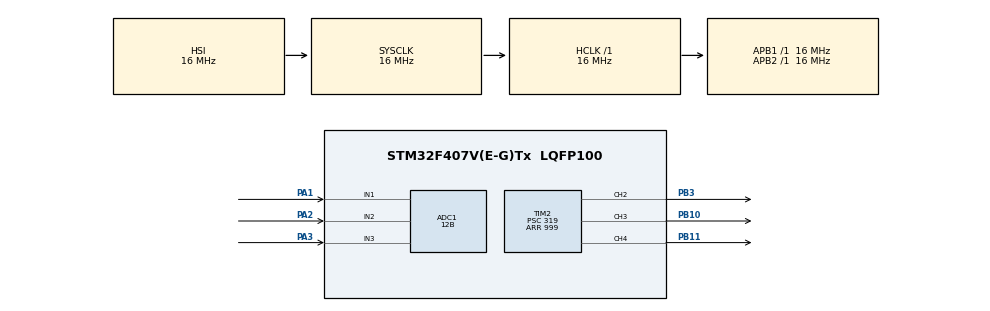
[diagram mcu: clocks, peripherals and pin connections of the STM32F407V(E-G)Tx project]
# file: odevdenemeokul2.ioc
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ADC1.AutoInjectedConv=DISABLE
ADC1.Channel-0\#ChannelRegularConversion=ADC_CHANNEL_1
ADC1.Channel-1\#ChannelRegularConversion=ADC_CHANNEL_2
ADC1.Channel-2\#ChannelRegularConversion=ADC_CHANNEL_3
ADC1.ClockPrescaler=ADC_CLOCK_SYNC_PCLK_DIV2
ADC1.ContinuousConvMode=DISABLE
ADC1.DMAContinuousRequests=DISABLE
ADC1.DataAlign=ADC_DATAALIGN_RIGHT
ADC1.DiscontinuousConvMode=DISABLE
ADC1.EOCSelection=ADC_EOC_SINGLE_CONV
ADC1.EnableAnalogWatchDog=false
ADC1.ExternalTrigConv=ADC_SOFTWARE_START
ADC1.ExternalTrigConvEdge=ADC_EXTERNALTRIGCONVEDGE_NONE
ADC1.InjNumberOfConversion=0
ADC1.InjectedDiscontinuousConvMode=DISABLE
ADC1.NbrOfConversion=3
ADC1.NbrOfConversionFlag=1
ADC1.Rank-0\#ChannelRegularConversion=1
ADC1.Rank-1\#ChannelRegularConversion=2
ADC1.Rank-2\#ChannelRegularConversion=3
ADC1.Resolution=ADC_RESOLUTION_12B
ADC1.SamplingTime-0\#ChannelRegularConversion=ADC_SAMPLETIME_480CYCLES
ADC1.SamplingTime-1\#ChannelRegularConversion=ADC_SAMPLETIME_480CYCLES
ADC1.SamplingTime-2\#ChannelRegularConversion=ADC_SAMPLETIME_480CYCLES
ADC1.ScanConvMode=ENABLE
ADC1.master=1
Mcu.Family=STM32F4
Mcu.Name=STM32F407V(E-G)Tx
Mcu.Package=LQFP100
NVIC.ADC_IRQn=true\:0\:0\:false\:false\:true
NVIC.PriorityGroup=NVIC_PRIORITYGROUP_4
NVIC.TIM2_IRQn=true\:0\:0\:false\:false\:true
PA1.Signal=ADCx_IN1
PA2.Signal=ADCx_IN2
PA3.Signal=ADCx_IN3
PB10.Signal=S_TIM2_CH3
PB11.Signal=S_TIM2_CH4
PB3.Signal=S_TIM2_CH2
ProjectManager.HeapSize=0x200
ProjectManager.StackSize=0x400
ProjectManager.TargetToolchain=MDK-ARM V4
RCC.AHBFreq_Value=16000000
RCC.APB1Freq_Value=16000000
RCC.APB2Freq_Value=16000000
RCC.ClockTypeHCLK=RCC_CLOCKTYPE_HCLK
RCC.ClockTypePCLK1=RCC_CLOCKTYPE_PCLK1
RCC.ClockTypePCLK2=RCC_CLOCKTYPE_PCLK2
RCC.ClockTypeSysClk=RCC_CLOCKTYPE_SYSCLK
RCC.CortexFreq_Value=16000000
RCC.EnableExtClockForI2S=false
RCC.EnableHSE=false
RCC.EnableHSERTCDevisor=false
RCC.EnableLSE=false
RCC.EnableLSERTC=false
RCC.ExtClockEnable=false
RCC.HSEState=RCC_HSE_OFF
RCC.HSE_VALUE=25000000
RCC.HSIState=RCC_HSI_ON
RCC.HSI_VALUE=16000000
RCC.I2SEnable=false
RCC.IWDGEnable=false
RCC.LSE_VALUE=32768
RCC.LSIState=RCC_LSI_OFF
RCC.MCO1OutPutEnable=false
RCC.MCO2OutPutEnable=false
RCC.OscillatorTypeHSI=RCC_OSCILLATORTYPE_HSI
RCC.PLLSource=RCC_PLLSOURCE_HSI
RCC.PLLSourceVirtual=RCC_PLLSOURCE_HSI
RCC.PLLState=RCC_PLL_OFF
RCC.RNGEnable=false
RCC.RTCEnable=false
RCC.SDIOEnable=false
RCC.SYSCLKFreq_VALUE=16000000
RCC.USBFSEnable=false
RCC.USBHSEnable=false
RCC.VCOOutputFreq_Value=192000000
SH.ADCx_IN1.0=ADC1_IN1,IN1
SH.ADCx_IN2.0=ADC1_IN2,IN2
SH.ADCx_IN3.0=ADC1_IN3,IN3
SH.S_TIM2_CH2.0=TIM2_CH2,PWM Generation2 CH2
SH.S_TIM2_CH3.0=TIM2_CH3,PWM Generation3 CH3
SH.S_TIM2_CH4.0=TIM2_CH4,PWM Generation4 CH4
TIM2.Channel-PWM\ Generation2\ CH2=TIM_CHANNEL_2
TIM2.Channel-PWM\ Generation3\ CH3=TIM_CHANNEL_3
TIM2.Channel-PWM\ Generation4\ CH4=TIM_CHANNEL_4
TIM2.Period=999
TIM2.Prescaler=319
board=odevdenemeokul2

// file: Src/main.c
/**
  ******************************************************************************
  * File Name          : main.c
  * Description        : Main program body
  ******************************************************************************
  *
  * COPYRIGHT(c) 2018 STMicroelectronics
  *
  * Redistribution and use in source and binary forms, with or without modification,
  * are permitted provided that the following conditions are met:
  *   1. Redistributions of source code must retain the above copyright notice,
  *      this list of conditions and the following disclaimer.
  *   2. Redistributions in binary form must reproduce the above copyright notice,
  *      this list of conditions and the following disclaimer in the documentation
  *      and/or other materials provided with the distribution.
  *   3. Neither the name of STMicroelectronics nor the names of its contributors
  *      may be used to endorse or promote products derived from this software
  *      without specific prior written permission.
  *
  * THIS SOFTWARE IS PROVIDED BY THE COPYRIGHT HOLDERS AND CONTRIBUTORS "AS IS"
  * AND ANY EXPRESS OR IMPLIED WARRANTIES, INCLUDING, BUT NOT LIMITED TO, THE
  * IMPLIED WARRANTIES OF MERCHANTABILITY AND FITNESS FOR A PARTICULAR PURPOSE ARE
  * DISCLAIMED. IN NO EVENT SHALL THE COPYRIGHT HOLDER OR CONTRIBUTORS BE LIABLE
  * FOR ANY DIRECT, INDIRECT, INCIDENTAL, SPECIAL, EXEMPLARY, OR CONSEQUENTIAL
  * DAMAGES (INCLUDING, BUT NOT LIMITED TO, PROCUREMENT OF SUBSTITUTE GOODS OR
  * SERVICES; LOSS OF USE, DATA, OR PROFITS; OR BUSINESS INTERRUPTION) HOWEVER
  * CAUSED AND ON ANY THEORY OF LIABILITY, WHETHER IN CONTRACT, STRICT LIABILITY,
  * OR TORT (INCLUDING NEGLIGENCE OR OTHERWISE) ARISING IN ANY WAY OUT OF THE USE
  * OF THIS SOFTWARE, EVEN IF ADVISED OF THE POSSIBILITY OF SUCH DAMAGE.
  *
  ******************************************************************************
  */
#include "main.h"
#include "stm32f4xx_hal.h"

ADC_HandleTypeDef hadc1;

TIM_HandleTypeDef htim2;

/* USER CODE BEGIN PV */
/* Private variables ---------------------------------------------------------*/

/* USER CODE END PV */

void SystemClock_Config(void);
void Error_Handler(void);
static void MX_GPIO_Init(void);
static void MX_ADC1_Init(void);
static void MX_TIM2_Init(void);

void HAL_TIM_MspPostInit(TIM_HandleTypeDef *htim);

/* USER CODE BEGIN PFP */
/* Private function prototypes -----------------------------------------------*/

/* USER CODE END PFP */

/* USER CODE BEGIN 0 */

int adc_value[3];
int sayac=0;
int parlaklik=0;

/**
* @brief This function handles ADC1, ADC2 and ADC3 global interrupts.
*/
void ADC_IRQHandler(void)
{
  /* USER CODE BEGIN ADC_IRQn 0 */
	adc_value[sayac]=HAL_ADC_GetValue(&hadc1);
	sayac++;

	if(sayac>2){
		sayac=0;
		HAL_ADC_Start_IT(&hadc1);
	}

  /* USER CODE END ADC_IRQn 0 */
  HAL_ADC_IRQHandler(&hadc1);
  /* USER CODE BEGIN ADC_IRQn 1 */

  /* USER CODE END ADC_IRQn 1 */
}
void TIM2_IRQHandler(void)
{
  /* USER CODE BEGIN TIM2_IRQn 0 */

  /* USER CODE END TIM2_IRQn 0 */
  HAL_TIM_IRQHandler(&htim2);
  /* USER CODE BEGIN TIM2_IRQn 1 */

  /* USER CODE END TIM2_IRQn 1 */
}

/* USER CODE END 0 */

int main(void)
{

  /* MCU Configuration----------------------------------------------------------*/

  /* Reset of all peripherals, Initializes the Flash interface and the Systick. */
  HAL_Init();

  /* Configure the system clock */
  SystemClock_Config();

  /* Initialize all configured peripherals */
  MX_GPIO_Init();
  MX_ADC1_Init();
  MX_TIM2_Init();

  /* USER CODE BEGIN 2 */
	HAL_TIM_PWM_Start_IT(&htim2, TIM_CHANNEL_2);
	HAL_TIM_PWM_Start_IT(&htim2, TIM_CHANNEL_3);
	HAL_TIM_PWM_Start_IT(&htim2, TIM_CHANNEL_4);
	HAL_ADC_Start_IT(&hadc1);
  /* USER CODE END 2 */

  /* Infinite loop */
  /* USER CODE BEGIN WHILE */
  while (1)
  {
		HAL_Delay(10);
		TIM2->CCR2 = adc_value[0]/20;
		TIM2->CCR3 = adc_value[1]/20;
		TIM2->CCR4 = adc_value[2]/20;
  }

  /* USER CODE END 3 */

}

/** System Clock Configuration
*/
void SystemClock_Config(void)
{

  RCC_OscInitTypeDef RCC_OscInitStruct;
  RCC_ClkInitTypeDef RCC_ClkInitStruct;

    /**Configure the main internal regulator output voltage
    */
  __HAL_RCC_PWR_CLK_ENABLE();

  __HAL_PWR_VOLTAGESCALING_CONFIG(PWR_REGULATOR_VOLTAGE_SCALE1);

    /**Initializes the CPU, AHB and APB busses clocks
    */
  RCC_OscInitStruct.OscillatorType = RCC_OSCILLATORTYPE_HSI;
  RCC_OscInitStruct.HSIState = RCC_HSI_ON;
  RCC_OscInitStruct.HSICalibrationValue = 16;
  RCC_OscInitStruct.PLL.PLLState = RCC_PLL_NONE;
  if (HAL_RCC_OscConfig(&RCC_OscInitStruct) != HAL_OK)
  {
    Error_Handler();
  }

    /**Initializes the CPU, AHB and APB busses clocks
    */
  RCC_ClkInitStruct.ClockType = RCC_CLOCKTYPE_HCLK|RCC_CLOCKTYPE_SYSCLK
                              |RCC_CLOCKTYPE_PCLK1|RCC_CLOCKTYPE_PCLK2;
  RCC_ClkInitStruct.SYSCLKSource = RCC_SYSCLKSOURCE_HSI;
  RCC_ClkInitStruct.AHBCLKDivider = RCC_SYSCLK_DIV1;
  RCC_ClkInitStruct.APB1CLKDivider = RCC_HCLK_DIV1;
  RCC_ClkInitStruct.APB2CLKDivider = RCC_HCLK_DIV1;

  if (HAL_RCC_ClockConfig(&RCC_ClkInitStruct, FLASH_LATENCY_0) != HAL_OK)
  {
    Error_Handler();
  }

    /**Configure the Systick interrupt time
    */
  HAL_SYSTICK_Config(HAL_RCC_GetHCLKFreq()/1000);

    /**Configure the Systick
    */
  HAL_SYSTICK_CLKSourceConfig(SYSTICK_CLKSOURCE_HCLK);

  /* SysTick_IRQn interrupt configuration */
  HAL_NVIC_SetPriority(SysTick_IRQn, 0, 0);
}

/* ADC1 init function */
static void MX_ADC1_Init(void)
{

  ADC_ChannelConfTypeDef sConfig;

    /**Configure the global features of the ADC (Clock, Resolution, Data Alignment and number of conversion)
    */
  hadc1.Instance = ADC1;
  hadc1.Init.ClockPrescaler = ADC_CLOCK_SYNC_PCLK_DIV2;
  hadc1.Init.Resolution = ADC_RESOLUTION_12B;
  hadc1.Init.ScanConvMode = ENABLE;
  hadc1.Init.ContinuousConvMode = DISABLE;
  hadc1.Init.DiscontinuousConvMode = DISABLE;
  hadc1.Init.ExternalTrigConvEdge = ADC_EXTERNALTRIGCONVEDGE_NONE;
  hadc1.Init.ExternalTrigConv = ADC_SOFTWARE_START;
  hadc1.Init.DataAlign = ADC_DATAALIGN_RIGHT;
  hadc1.Init.NbrOfConversion = 3;
  hadc1.Init.DMAContinuousRequests = DISABLE;
  hadc1.Init.EOCSelection = ADC_EOC_SINGLE_CONV;
  if (HAL_ADC_Init(&hadc1) != HAL_OK)
  {
    Error_Handler();
  }

    /**Configure for the selected ADC regular channel its corresponding rank in the sequencer and its sample time.
    */
  sConfig.Channel = ADC_CHANNEL_1;
  sConfig.Rank = 1;
  sConfig.SamplingTime = ADC_SAMPLETIME_480CYCLES;
  if (HAL_ADC_ConfigChannel(&hadc1, &sConfig) != HAL_OK)
  {
    Error_Handler();
  }

    /**Configure for the selected ADC regular channel its corresponding rank in the sequencer and its sample time.
    */
  sConfig.Channel = ADC_CHANNEL_2;
  sConfig.Rank = 2;
  if (HAL_ADC_ConfigChannel(&hadc1, &sConfig) != HAL_OK)
  {
    Error_Handler();
  }

    /**Configure for the selected ADC regular channel its corresponding rank in the sequencer and its sample time.
    */
  sConfig.Channel = ADC_CHANNEL_3;
  sConfig.Rank = 3;
  if (HAL_ADC_ConfigChannel(&hadc1, &sConfig) != HAL_OK)
  {
    Error_Handler();
  }

}

/* TIM2 init function */
static void MX_TIM2_Init(void)
{

  TIM_MasterConfigTypeDef sMasterConfig;
  TIM_OC_InitTypeDef sConfigOC;

  htim2.Instance = TIM2;
  htim2.Init.Prescaler = 100;
  htim2.Init.CounterMode = TIM_COUNTERMODE_UP;
  htim2.Init.Period = 999;
  htim2.Init.ClockDivision = TIM_CLOCKDIVISION_DIV1;
  if (HAL_TIM_PWM_Init(&htim2) != HAL_OK)
  {
    Error_Handler();
  }

  sMasterConfig.MasterOutputTrigger = TIM_TRGO_RESET;
  sMasterConfig.MasterSlaveMode = TIM_MASTERSLAVEMODE_DISABLE;
  if (HAL_TIMEx_MasterConfigSynchronization(&htim2, &sMasterConfig) != HAL_OK)
  {
    Error_Handler();
  }

  sConfigOC.OCMode = TIM_OCMODE_PWM1;
  sConfigOC.Pulse = 0;
  sConfigOC.OCPolarity = TIM_OCPOLARITY_HIGH;
  sConfigOC.OCFastMode = TIM_OCFAST_DISABLE;
  if (HAL_TIM_PWM_ConfigChannel(&htim2, &sConfigOC, TIM_CHANNEL_2) != HAL_OK)
  {
    Error_Handler();
  }

  if (HAL_TIM_PWM_ConfigChannel(&htim2, &sConfigOC, TIM_CHANNEL_3) != HAL_OK)
  {
    Error_Handler();
  }

  if (HAL_TIM_PWM_ConfigChannel(&htim2, &sConfigOC, TIM_CHANNEL_4) != HAL_OK)
  {
    Error_Handler();
  }

  HAL_TIM_MspPostInit(&htim2);

}

/** Pinout Configuration
*/
static void MX_GPIO_Init(void)
{

  /* GPIO Ports Clock Enable */
  __HAL_RCC_GPIOA_CLK_ENABLE();
  __HAL_RCC_GPIOB_CLK_ENABLE();

}

void Error_Handler(void)
{
  while(1)
  {
  }
}

/************************ (C) COPYRIGHT STMicroelectronics *****END OF FILE****/
